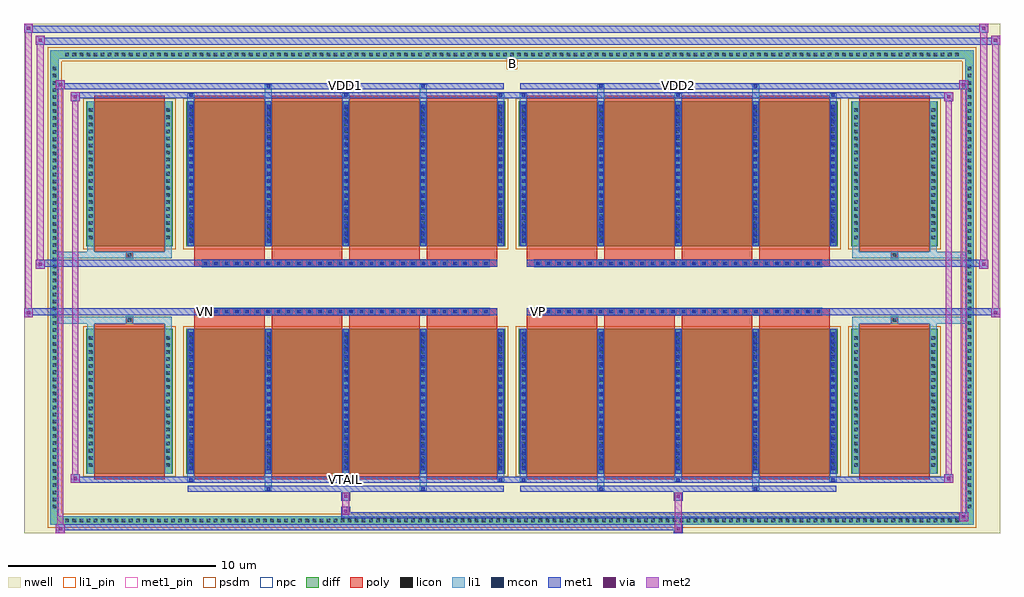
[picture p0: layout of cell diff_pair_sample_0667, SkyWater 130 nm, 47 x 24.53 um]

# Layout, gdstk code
import gdstk
lib = gdstk.Library(unit=1e-6, precision=5e-09)
def R(c, l, rs):  # rectangles x0, y0, x1, y1
    for r in rs: c.add(gdstk.rectangle(r[:2], r[2:], *l))
def A(c, l, x, y, w, h, nx, ny, dx, dy):  # array of equal rectangles
    R(c, l, [(x+i*dx, y+j*dy, x+i*dx+w, y+j*dy+h) for i in range(nx) for j in range(ny)])
def P(c, l, *ps):  # polygons
    for p in ps: c.add(gdstk.Polygon(p, *l))
nwell = (64, 20)
diff = (65, 20)
poly = (66, 20)
licon = (66, 44)
li1_pin = (67, 16)
li1 = (67, 20)
mcon = (67, 44)
met1_pin = (68, 16)
met1 = (68, 20)
via = (68, 44)
met2 = (69, 20)
psdm = (94, 20)
npc = (95, 20)

diff_pair_sample_0667 = lib.new_cell('diff_pair_sample_0667')
R(diff_pair_sample_0667, nwell, [(-23.5,-11.83,23.5,12.7), (-20.82,-10.02,-0.01,-0.8), (0.01,-10.02,20.82,-0.8), (-20.82,0.8,-0.01,10.02), (0.01,0.8,20.82,10.02)])
A(diff_pair_sample_0667, diff, -21.625, -11.43, 0.41, 0.41, 127, 2, 0.34, 22.45)
A(diff_pair_sample_0667, diff, -22.23, -10.745, 0.41, 0.41, 1, 63, 0, 0.34)
A(diff_pair_sample_0667, diff, 21.82, -10.745, 0.41, 0.41, 1, 63, 0, 0.34)
R(diff_pair_sample_0667, diff, [(-21.625,-11.43,21.625,-11.02), (-22.23,-10.745,-21.82,10.745), (21.82,-10.745,22.23,10.745), (-20.51,-8.975,-16.33,-1.985), (-15.69,-8.975,-0.32,-1.985), (0.32,-8.975,15.69,-1.985), (16.33,-8.975,20.51,-1.985), (-20.51,1.985,-16.33,8.975), (-15.69,1.985,-0.32,8.975), (0.32,1.985,15.69,8.975), (16.33,1.985,20.51,8.975), (-21.625,11.02,21.625,11.43)])
P(diff_pair_sample_0667, diff, [(22.23,11.43),(-22.23,11.43),(-22.23,-11.02),(-21.82,-11.02),(-21.82,11.02),(21.82,11.02),(21.82,-11.02),(-21.82,-11.02),(-22.23,-11.02),(-22.23,-11.43),(22.23,-11.43)])
A(diff_pair_sample_0667, poly, -15.3, -9.225, 3.4, 7.49, 4, 2, 3.73, 10.96)
A(diff_pair_sample_0667, poly, 0.71, -9.225, 3.4, 7.49, 4, 2, 3.73, 10.96)
A(diff_pair_sample_0667, poly, -15.3, -1.735, 3.4, 0.405, 4, 2, 3.73, 3.065)
A(diff_pair_sample_0667, poly, 0.71, -1.735, 3.4, 0.405, 4, 2, 3.73, 3.065)
A(diff_pair_sample_0667, poly, -14.92, -1.33, 0.33, 0.33, 28, 2, 0.5, 2.33)
A(diff_pair_sample_0667, poly, 1.09, -1.33, 0.33, 0.33, 28, 2, 0.5, 2.33)
R(diff_pair_sample_0667, poly, [(-20.12,-9.225,-16.72,-1.735), (16.72,-9.225,20.12,-1.735), (-18.585,-1.735,-18.255,-1.405), (-18.585,-1.735,-18.255,-1.405), (18.255,-1.735,18.585,-1.405), (18.255,-1.735,18.585,-1.405), (-15.3,-1.33,-0.71,-1), (0.71,-1.33,15.3,-1), (-15.3,1,-0.71,1.33), (0.71,1,15.3,1.33), (-18.585,1.405,-18.255,1.735), (-18.585,1.405,-18.255,1.735), (18.255,1.405,18.585,1.735), (18.255,1.405,18.585,1.735), (-20.12,1.735,-16.72,9.225), (16.72,1.735,20.12,9.225)])
A(diff_pair_sample_0667, licon, -21.505, -11.31, 0.17, 0.17, 127, 2, 0.34, 22.45)
A(diff_pair_sample_0667, licon, -22.11, -10.625, 0.17, 0.17, 1, 63, 0, 0.34)
A(diff_pair_sample_0667, licon, 21.94, -10.625, 0.17, 0.17, 1, 63, 0, 0.34)
A(diff_pair_sample_0667, licon, -20.37, -8.625, 0.17, 0.17, 1, 19, 0, 0.34)
A(diff_pair_sample_0667, licon, -16.64, -8.625, 0.17, 0.17, 1, 19, 0, 0.34)
A(diff_pair_sample_0667, licon, -15.55, -8.625, 0.17, 0.17, 5, 19, 3.73, 0.34)
A(diff_pair_sample_0667, licon, 0.46, -8.625, 0.17, 0.17, 5, 19, 3.73, 0.34)
A(diff_pair_sample_0667, licon, 16.47, -8.625, 0.17, 0.17, 1, 19, 0, 0.34)
A(diff_pair_sample_0667, licon, 20.2, -8.625, 0.17, 0.17, 1, 19, 0, 0.34)
A(diff_pair_sample_0667, licon, -14.84, -1.25, 0.17, 0.17, 28, 2, 0.5, 2.33)
A(diff_pair_sample_0667, licon, 1.17, -1.25, 0.17, 0.17, 28, 2, 0.5, 2.33)
A(diff_pair_sample_0667, licon, -20.37, 2.335, 0.17, 0.17, 1, 19, 0, 0.34)
A(diff_pair_sample_0667, licon, -16.64, 2.335, 0.17, 0.17, 1, 19, 0, 0.34)
A(diff_pair_sample_0667, licon, -15.55, 2.335, 0.17, 0.17, 5, 19, 3.73, 0.34)
A(diff_pair_sample_0667, licon, 0.46, 2.335, 0.17, 0.17, 5, 19, 3.73, 0.34)
A(diff_pair_sample_0667, licon, 16.47, 2.335, 0.17, 0.17, 1, 19, 0, 0.34)
A(diff_pair_sample_0667, licon, 20.2, 2.335, 0.17, 0.17, 1, 19, 0, 0.34)
R(diff_pair_sample_0667, licon, [(-18.505,-1.655,-18.335,-1.485), (18.335,-1.655,18.505,-1.485), (-18.505,1.485,-18.335,1.655), (18.335,1.485,18.505,1.655)])
R(diff_pair_sample_0667, li1_pin, [(-0.25,10.52,0.25,11.02)])
A(diff_pair_sample_0667, li1, -21.585, -11.39, 0.33, 0.33, 127, 2, 0.34, 22.45)
A(diff_pair_sample_0667, li1, -22.19, -10.705, 0.33, 0.33, 1, 63, 0, 0.34)
A(diff_pair_sample_0667, li1, 21.86, -10.705, 0.33, 0.33, 1, 63, 0, 0.34)
A(diff_pair_sample_0667, li1, -15.63, -9.35, 0.33, 0.375, 3, 2, 7.46, 18.325)
A(diff_pair_sample_0667, li1, -15.55, -9.35, 0.17, 0.17, 3, 2, 7.46, 18.53)
A(diff_pair_sample_0667, li1, 0.38, -9.35, 0.33, 0.375, 3, 2, 7.46, 18.325)
A(diff_pair_sample_0667, li1, 0.46, -9.35, 0.17, 0.17, 3, 2, 7.46, 18.53)
A(diff_pair_sample_0667, li1, -15.63, -8.975, 0.33, 6.99, 5, 2, 3.73, 10.96)
A(diff_pair_sample_0667, li1, 0.38, -8.975, 0.33, 6.99, 5, 2, 3.73, 10.96)
A(diff_pair_sample_0667, li1, -15.55, -8.805, 0.17, 0.17, 5, 19, 3.73, 0.36)
A(diff_pair_sample_0667, li1, -15.55, -8.805, 0.17, 6.65, 5, 2, 3.73, 10.96)
A(diff_pair_sample_0667, li1, 0.46, -8.805, 0.17, 0.17, 5, 19, 3.73, 0.36)
A(diff_pair_sample_0667, li1, 0.46, -8.805, 0.17, 6.65, 5, 2, 3.73, 10.96)
A(diff_pair_sample_0667, li1, -20.45, -8.705, 0.33, 0.33, 1, 19, 0, 0.34)
A(diff_pair_sample_0667, li1, -16.72, -8.705, 0.33, 0.33, 1, 19, 0, 0.34)
A(diff_pair_sample_0667, li1, -15.63, -8.705, 0.33, 0.33, 5, 19, 3.73, 0.34)
A(diff_pair_sample_0667, li1, 0.38, -8.705, 0.33, 0.33, 5, 19, 3.73, 0.34)
A(diff_pair_sample_0667, li1, 16.39, -8.705, 0.33, 0.33, 1, 19, 0, 0.34)
A(diff_pair_sample_0667, li1, 20.12, -8.705, 0.33, 0.33, 1, 19, 0, 0.34)
A(diff_pair_sample_0667, li1, -14.92, -1.33, 0.33, 0.33, 28, 2, 0.5, 2.33)
A(diff_pair_sample_0667, li1, 1.09, -1.33, 0.33, 0.33, 28, 2, 0.5, 2.33)
A(diff_pair_sample_0667, li1, -15.55, 2.155, 0.17, 0.17, 5, 19, 3.73, 0.36)
A(diff_pair_sample_0667, li1, 0.46, 2.155, 0.17, 0.17, 5, 19, 3.73, 0.36)
A(diff_pair_sample_0667, li1, -20.45, 2.255, 0.33, 0.33, 1, 19, 0, 0.34)
A(diff_pair_sample_0667, li1, -16.72, 2.255, 0.33, 0.33, 1, 19, 0, 0.34)
A(diff_pair_sample_0667, li1, -15.63, 2.255, 0.33, 0.33, 5, 19, 3.73, 0.34)
A(diff_pair_sample_0667, li1, 0.38, 2.255, 0.33, 0.33, 5, 19, 3.73, 0.34)
A(diff_pair_sample_0667, li1, 16.39, 2.255, 0.33, 0.33, 1, 19, 0, 0.34)
A(diff_pair_sample_0667, li1, 20.12, 2.255, 0.33, 0.33, 1, 19, 0, 0.34)
R(diff_pair_sample_0667, li1, [(-22.23,-11.43,-21.82,-11.02), (-22.23,-11.43,-21.82,-11.02), (-21.82,-11.43,21.82,-11.02), (21.82,-11.43,22.23,-11.02), (21.82,-11.43,22.23,-11.02), (-22.23,-11.02,-21.82,11.02), (21.82,-11.02,22.23,11.02), (-11.9,-9.78,-11.57,-8.975), (-11.82,-9.78,-11.65,-9.61), (-4.44,-9.78,-4.11,-8.975), (-4.36,-9.78,-4.19,-9.61), (4.11,-9.78,4.44,-8.975), (4.19,-9.78,4.36,-9.61), (11.57,-9.78,11.9,-8.975), (11.65,-9.78,11.82,-9.61), (-20.45,-8.975,-20.12,-1.985), (-16.72,-8.975,-16.39,-1.985), (16.39,-8.975,16.72,-1.985), (20.12,-8.975,20.45,-1.985), (-20.45,-1.985,-20.12,-1.405), (-16.72,-1.985,-16.39,-1.405), (16.39,-1.985,16.72,-1.405), (20.12,-1.985,20.45,-1.405), (-22.23,-1.735,-18.585,-1.405), (-20.45,-1.735,-18.585,-1.405), (-18.585,-1.735,-18.255,-1.405), (-18.255,-1.735,-16.39,-1.405), (16.39,-1.735,18.255,-1.405), (18.255,-1.735,18.585,-1.405), (18.255,-1.735,22.23,-1.405), (18.585,-1.735,20.45,-1.405), (-22.23,1.405,-18.585,1.735), (-20.45,1.405,-18.585,1.735), (-20.45,1.405,-20.12,1.985), (-18.585,1.405,-18.255,1.735), (-18.255,1.405,-16.39,1.735), (-16.72,1.405,-16.39,1.985), (16.39,1.405,18.255,1.735), (16.39,1.405,16.72,1.985), (18.255,1.405,18.585,1.735), (18.255,1.405,22.23,1.735), (18.585,1.405,20.45,1.735), (20.12,1.405,20.45,1.985), (-20.45,1.985,-20.12,8.975), (-16.72,1.985,-16.39,8.975), (16.39,1.985,16.72,8.975), (20.12,1.985,20.45,8.975), (-11.9,8.975,-11.57,9.78), (-4.44,8.975,-4.11,9.78), (4.11,8.975,4.44,9.78), (11.57,8.975,11.9,9.78), (-11.82,9.61,-11.65,9.78), (-4.36,9.61,-4.19,9.78), (4.19,9.61,4.36,9.78), (11.65,9.61,11.82,9.78), (-22.23,11.02,-21.82,11.43), (-22.23,11.02,-21.82,11.43), (-21.82,11.02,21.82,11.43), (21.82,11.02,22.23,11.43), (21.82,11.02,22.23,11.43)])
A(diff_pair_sample_0667, mcon, -15.55, -9.35, 0.17, 0.17, 3, 2, 7.46, 18.53)
A(diff_pair_sample_0667, mcon, 0.46, -9.35, 0.17, 0.17, 3, 2, 7.46, 18.53)
A(diff_pair_sample_0667, mcon, -15.55, -8.805, 0.17, 0.17, 5, 19, 3.73, 0.36)
A(diff_pair_sample_0667, mcon, 0.46, -8.805, 0.17, 0.17, 5, 19, 3.73, 0.36)
A(diff_pair_sample_0667, mcon, -14.84, -1.25, 0.17, 0.17, 28, 2, 0.5, 2.33)
A(diff_pair_sample_0667, mcon, 1.17, -1.25, 0.17, 0.17, 28, 2, 0.5, 2.33)
A(diff_pair_sample_0667, mcon, -15.55, 2.155, 0.17, 0.17, 5, 19, 3.73, 0.36)
A(diff_pair_sample_0667, mcon, 0.46, 2.155, 0.17, 0.17, 5, 19, 3.73, 0.36)
R(diff_pair_sample_0667, mcon, [(-11.82,-9.78,-11.65,-9.61), (-4.36,-9.78,-4.19,-9.61), (4.19,-9.78,4.36,-9.61), (11.65,-9.78,11.82,-9.61), (-11.82,9.61,-11.65,9.78), (-4.36,9.61,-4.19,9.78), (4.19,9.61,4.36,9.78), (11.65,9.61,11.82,9.78)])
R(diff_pair_sample_0667, met1_pin, [(-8.14,-9.39,-7.87,-9.12), (-14.89,-1.29,-14.62,-1.02), (1.12,-1.29,1.39,-1.02), (-8.14,9.57,-7.87,9.84), (7.87,9.57,8.14,9.84)])
A(diff_pair_sample_0667, met1, -15.61, -9.41, 0.29, 0.29, 3, 2, 7.46, 18.53)
A(diff_pair_sample_0667, met1, 0.4, -9.41, 0.29, 0.29, 3, 2, 7.46, 18.53)
A(diff_pair_sample_0667, met1, -15.61, -8.975, 0.29, 6.99, 5, 2, 3.73, 10.96)
A(diff_pair_sample_0667, met1, 0.4, -8.975, 0.29, 6.99, 5, 2, 3.73, 10.96)
A(diff_pair_sample_0667, met1, -15.61, -8.865, 0.29, 0.29, 5, 19, 3.73, 0.36)
A(diff_pair_sample_0667, met1, 0.4, -8.865, 0.29, 0.29, 5, 19, 3.73, 0.36)
A(diff_pair_sample_0667, met1, -14.9, -1.31, 0.29, 0.29, 28, 2, 0.5, 2.33)
A(diff_pair_sample_0667, met1, 1.11, -1.31, 0.29, 0.29, 28, 2, 0.5, 2.33)
A(diff_pair_sample_0667, met1, -15.61, 2.095, 0.29, 0.29, 5, 19, 3.73, 0.36)
A(diff_pair_sample_0667, met1, 0.4, 2.095, 0.29, 0.29, 5, 19, 3.73, 0.36)
R(diff_pair_sample_0667, met1, [(-21.96,-11.83,-21.53,-11.4), (7.79,-11.83,8.22,-11.4), (-21.96,-11.69,8.22,-11.4), (21.53,-11.26,21.96,-10.83), (-8.22,-11.12,21.96,-10.83), (-8.22,-10.98,-7.79,-10.55), (-8.22,-10.27,-7.79,-9.84), (7.79,-10.27,8.22,-9.84), (-15.61,-9.84,-0.4,-9.55), (-11.88,-9.84,-11.59,-9.55), (-4.42,-9.84,-4.13,-9.55), (0.4,-9.84,15.61,-9.55), (4.13,-9.84,4.42,-9.55), (11.59,-9.84,11.88,-9.55), (-21.25,-9.41,-20.82,-8.98), (-21.25,-9.41,-15.61,-9.12), (-15.61,-9.41,-0.4,-9.12), (-0.4,-9.41,0.4,-9.12), (0.4,-9.41,15.61,-9.12), (15.61,-9.41,21.25,-9.12), (20.82,-9.41,21.25,-8.98), (-23.5,-1.43,-23.07,-1), (23.07,-1.43,23.5,-1), (-23.5,-1.33,-0.71,-1), (-15.3,-1.33,-0.71,-1), (0.71,-1.33,15.3,-1), (0.71,-1.33,23.5,-1), (-22.93,0.9,-22.5,1.33), (22.5,0.9,22.93,1.33), (-22.93,1,-15.3,1.33), (-15.3,1,-0.71,1.33), (0.71,1,15.3,1.33), (15.3,1,22.93,1.33), (-21.25,8.98,-20.82,9.41), (20.82,8.98,21.25,9.41), (-21.25,9.12,-15.61,9.41), (-15.61,9.12,-0.4,9.41), (-0.4,9.12,0.4,9.41), (0.4,9.12,15.61,9.41), (15.61,9.12,21.25,9.41), (-21.96,9.55,-21.53,9.98), (-21.96,9.55,-15.61,9.84), (-15.61,9.55,-0.4,9.84), (-11.88,9.55,-11.59,9.84), (-4.42,9.55,-4.13,9.84), (0.4,9.55,15.61,9.84), (4.13,9.55,4.42,9.84), (11.59,9.55,11.88,9.84), (15.61,9.55,21.96,9.84), (21.53,9.55,21.96,9.98), (-22.93,11.7,-22.5,12.13), (-22.93,11.7,-20.82,12.03), (-20.82,11.7,20.82,12.03), (20.82,11.7,23.5,12.03), (23.07,11.7,23.5,12.13), (-23.5,12.27,-23.07,12.7), (-23.5,12.27,-20.82,12.6), (-20.82,12.27,20.82,12.6), (20.82,12.27,22.93,12.6), (22.5,12.27,22.93,12.7)])
R(diff_pair_sample_0667, via, [(-21.82,-11.69,-21.67,-11.54), (7.93,-11.69,8.08,-11.54), (21.67,-11.12,21.82,-10.97), (-8.08,-10.84,-7.93,-10.69), (-8.08,-10.13,-7.93,-9.98), (7.93,-10.13,8.08,-9.98), (-21.11,-9.27,-20.96,-9.12), (20.96,-9.27,21.11,-9.12), (-23.36,-1.29,-23.21,-1.14), (23.21,-1.29,23.36,-1.14), (-22.79,1.04,-22.64,1.19), (22.64,1.04,22.79,1.19), (-21.11,9.12,-20.96,9.27), (20.96,9.12,21.11,9.27), (-21.82,9.69,-21.67,9.84), (21.67,9.69,21.82,9.84), (-22.79,11.84,-22.64,11.99), (23.21,11.84,23.36,11.99), (-23.36,12.41,-23.21,12.56), (22.64,12.41,22.79,12.56)])
R(diff_pair_sample_0667, met2, [(-21.96,-11.83,-21.53,-11.4), (-21.89,-11.83,-21.6,9.98), (-21.6,-11.83,-21.53,-11.4), (-21.91,-11.78,-21.58,-11.45), (7.84,-11.78,8.17,-11.45), (7.84,-11.45,8.17,-10.22), (21.53,-11.26,21.96,-10.83), (21.6,-11.26,21.89,9.98), (21.89,-11.26,21.96,-10.83), (21.58,-11.21,21.91,-10.88), (-8.17,-10.93,-7.84,-10.6), (-8.17,-10.6,-7.84,-10.22), (-8.17,-10.22,-7.84,-9.89), (7.84,-10.22,8.17,-9.89), (-21.25,-9.41,-20.82,-8.98), (-21.18,-9.41,-20.89,9.41), (-20.89,-9.41,-20.82,-8.98), (20.82,-9.41,21.25,-8.98), (20.89,-9.41,21.18,9.41), (21.18,-9.41,21.25,-8.98), (-21.2,-9.36,-20.87,-9.03), (20.87,-9.36,21.2,-9.03), (-23.5,-1.43,-23.07,-1), (-23.45,-1.43,-23.12,12.7), (-23.12,-1.43,-23.07,-1), (23.07,-1.43,23.5,-1), (23.12,-1.43,23.45,12.13), (23.45,-1.43,23.5,-1), (-23.45,-1.38,-23.12,-1.05), (23.12,-1.38,23.45,-1.05), (-22.93,0.9,-22.5,1.33), (-22.88,0.9,-22.55,12.13), (-22.55,0.9,-22.5,1.33), (22.5,0.9,22.93,1.33), (22.55,0.9,22.88,12.7), (22.88,0.9,22.93,1.33), (-22.88,0.95,-22.55,1.28), (22.55,0.95,22.88,1.28), (-21.25,8.98,-20.82,9.41), (-20.89,8.98,-20.82,9.41), (20.82,8.98,21.25,9.41), (21.18,8.98,21.25,9.41), (-21.2,9.03,-20.87,9.36), (20.87,9.03,21.2,9.36), (-21.96,9.55,-21.53,9.98), (-21.6,9.55,-21.53,9.98), (21.53,9.55,21.96,9.98), (21.89,9.55,21.96,9.98), (-21.91,9.6,-21.58,9.93), (21.58,9.6,21.91,9.93), (-22.93,11.7,-22.5,12.13), (-22.55,11.7,-22.5,12.13), (23.07,11.7,23.5,12.13), (23.45,11.7,23.5,12.13), (-22.88,11.75,-22.55,12.08), (23.12,11.75,23.45,12.08), (-23.5,12.27,-23.07,12.7), (-23.12,12.27,-23.07,12.7), (22.5,12.27,22.93,12.7), (22.88,12.27,22.93,12.7), (-23.45,12.32,-23.12,12.65), (22.55,12.32,22.88,12.65)])
R(diff_pair_sample_0667, psdm, [(-20.64,-9.105,-16.2,-1.855), (-15.82,-9.105,-0.19,-1.855), (0.19,-9.105,15.82,-1.855), (16.2,-9.105,20.64,-1.855), (-20.64,1.855,-16.2,9.105), (-15.82,1.855,-0.19,9.105), (0.19,1.855,15.82,9.105), (16.2,1.855,20.64,9.105)])
P(diff_pair_sample_0667, psdm, [(22.36,11.56),(-22.36,11.56),(-22.36,-10.89),(-21.69,-10.89),(-21.69,10.89),(21.69,10.89),(21.69,-10.89),(-21.69,-10.89),(-22.36,-10.89),(-22.36,-11.56),(22.36,-11.56)])
A(diff_pair_sample_0667, npc, -14.94, -1.35, 0.37, 0.37, 28, 2, 0.5, 2.33)
A(diff_pair_sample_0667, npc, 1.07, -1.35, 0.37, 0.37, 28, 2, 0.5, 2.33)
R(diff_pair_sample_0667, npc, [(-18.605,-1.755,-18.235,-1.385), (18.235,-1.755,18.605,-1.385), (-14.94,-1.35,-14.07,-0.98), (-14.94,-1.35,-14.07,-0.98), (-14.44,-1.35,-13.57,-0.98), (-14.44,-1.35,-13.57,-0.98), (-13.94,-1.35,-13.07,-0.98), (-13.94,-1.35,-13.07,-0.98), (-13.44,-1.35,-12.57,-0.98), (-13.44,-1.35,-12.57,-0.98), (-12.94,-1.35,-12.07,-0.98), (-12.94,-1.35,-12.07,-0.98), (-12.44,-1.35,-11.57,-0.98), (-12.44,-1.35,-11.57,-0.98), (-11.94,-1.35,-11.07,-0.98), (-11.94,-1.35,-11.07,-0.98), (-11.44,-1.35,-10.57,-0.98), (-11.44,-1.35,-10.57,-0.98), (-10.94,-1.35,-10.07,-0.98), (-10.94,-1.35,-10.07,-0.98), (-10.44,-1.35,-9.57,-0.98), (-10.44,-1.35,-9.57,-0.98), (-9.94,-1.35,-9.07,-0.98), (-9.94,-1.35,-9.07,-0.98), (-9.44,-1.35,-8.57,-0.98), (-9.44,-1.35,-8.57,-0.98), (-8.94,-1.35,-8.07,-0.98), (-8.94,-1.35,-8.07,-0.98), (-8.44,-1.35,-7.57,-0.98), (-8.44,-1.35,-7.57,-0.98), (-7.94,-1.35,-7.07,-0.98), (-7.94,-1.35,-7.07,-0.98), (-7.44,-1.35,-6.57,-0.98), (-7.44,-1.35,-6.57,-0.98), (-6.94,-1.35,-6.07,-0.98), (-6.94,-1.35,-6.07,-0.98), (-6.44,-1.35,-5.57,-0.98), (-6.44,-1.35,-5.57,-0.98), (-5.94,-1.35,-5.07,-0.98), (-5.94,-1.35,-5.07,-0.98), (-5.44,-1.35,-4.57,-0.98), (-5.44,-1.35,-4.57,-0.98), (-4.94,-1.35,-4.07,-0.98), (-4.94,-1.35,-4.07,-0.98), (-4.44,-1.35,-3.57,-0.98), (-4.44,-1.35,-3.57,-0.98), (-3.94,-1.35,-3.07,-0.98), (-3.94,-1.35,-3.07,-0.98), (-3.44,-1.35,-2.57,-0.98), (-3.44,-1.35,-2.57,-0.98), (-2.94,-1.35,-2.07,-0.98), (-2.94,-1.35,-2.07,-0.98), (-2.44,-1.35,-1.57,-0.98), (-2.44,-1.35,-1.57,-0.98), (-1.94,-1.35,-1.07,-0.98), (-1.94,-1.35,-1.07,-0.98), (1.07,-1.35,1.94,-0.98), (1.07,-1.35,1.94,-0.98), (1.57,-1.35,2.44,-0.98), (1.57,-1.35,2.44,-0.98), (2.07,-1.35,2.94,-0.98), (2.07,-1.35,2.94,-0.98), (2.57,-1.35,3.44,-0.98), (2.57,-1.35,3.44,-0.98), (3.07,-1.35,3.94,-0.98), (3.07,-1.35,3.94,-0.98), (3.57,-1.35,4.44,-0.98), (3.57,-1.35,4.44,-0.98), (4.07,-1.35,4.94,-0.98), (4.07,-1.35,4.94,-0.98), (4.57,-1.35,5.44,-0.98), (4.57,-1.35,5.44,-0.98), (5.07,-1.35,5.94,-0.98), (5.07,-1.35,5.94,-0.98), (5.57,-1.35,6.44,-0.98), (5.57,-1.35,6.44,-0.98), (6.07,-1.35,6.94,-0.98), (6.07,-1.35,6.94,-0.98), (6.57,-1.35,7.44,-0.98), (6.57,-1.35,7.44,-0.98), (7.07,-1.35,7.94,-0.98), (7.07,-1.35,7.94,-0.98), (7.57,-1.35,8.44,-0.98), (7.57,-1.35,8.44,-0.98), (8.07,-1.35,8.94,-0.98), (8.07,-1.35,8.94,-0.98), (8.57,-1.35,9.44,-0.98), (8.57,-1.35,9.44,-0.98), (9.07,-1.35,9.94,-0.98), (9.07,-1.35,9.94,-0.98), (9.57,-1.35,10.44,-0.98), (9.57,-1.35,10.44,-0.98), (10.07,-1.35,10.94,-0.98), (10.07,-1.35,10.94,-0.98), (10.57,-1.35,11.44,-0.98), (10.57,-1.35,11.44,-0.98), (11.07,-1.35,11.94,-0.98), (11.07,-1.35,11.94,-0.98), (11.57,-1.35,12.44,-0.98), (11.57,-1.35,12.44,-0.98), (12.07,-1.35,12.94,-0.98), (12.07,-1.35,12.94,-0.98), (12.57,-1.35,13.44,-0.98), (12.57,-1.35,13.44,-0.98), (13.07,-1.35,13.94,-0.98), (13.07,-1.35,13.94,-0.98), (13.57,-1.35,14.44,-0.98), (13.57,-1.35,14.44,-0.98), (14.07,-1.35,14.94,-0.98), (14.07,-1.35,14.94,-0.98), (-14.94,0.98,-14.07,1.35), (-14.94,0.98,-14.07,1.35), (-14.44,0.98,-13.57,1.35), (-14.44,0.98,-13.57,1.35), (-13.94,0.98,-13.07,1.35), (-13.94,0.98,-13.07,1.35), (-13.44,0.98,-12.57,1.35), (-13.44,0.98,-12.57,1.35), (-12.94,0.98,-12.07,1.35), (-12.94,0.98,-12.07,1.35), (-12.44,0.98,-11.57,1.35), (-12.44,0.98,-11.57,1.35), (-11.94,0.98,-11.07,1.35), (-11.94,0.98,-11.07,1.35), (-11.44,0.98,-10.57,1.35), (-11.44,0.98,-10.57,1.35), (-10.94,0.98,-10.07,1.35), (-10.94,0.98,-10.07,1.35), (-10.44,0.98,-9.57,1.35), (-10.44,0.98,-9.57,1.35), (-9.94,0.98,-9.07,1.35), (-9.94,0.98,-9.07,1.35), (-9.44,0.98,-8.57,1.35), (-9.44,0.98,-8.57,1.35), (-8.94,0.98,-8.07,1.35), (-8.94,0.98,-8.07,1.35), (-8.44,0.98,-7.57,1.35), (-8.44,0.98,-7.57,1.35), (-7.94,0.98,-7.07,1.35), (-7.94,0.98,-7.07,1.35), (-7.44,0.98,-6.57,1.35), (-7.44,0.98,-6.57,1.35), (-6.94,0.98,-6.07,1.35), (-6.94,0.98,-6.07,1.35), (-6.44,0.98,-5.57,1.35), (-6.44,0.98,-5.57,1.35), (-5.94,0.98,-5.07,1.35), (-5.94,0.98,-5.07,1.35), (-5.44,0.98,-4.57,1.35), (-5.44,0.98,-4.57,1.35), (-4.94,0.98,-4.07,1.35), (-4.94,0.98,-4.07,1.35), (-4.44,0.98,-3.57,1.35), (-4.44,0.98,-3.57,1.35), (-3.94,0.98,-3.07,1.35), (-3.94,0.98,-3.07,1.35), (-3.44,0.98,-2.57,1.35), (-3.44,0.98,-2.57,1.35), (-2.94,0.98,-2.07,1.35), (-2.94,0.98,-2.07,1.35), (-2.44,0.98,-1.57,1.35), (-2.44,0.98,-1.57,1.35), (-1.94,0.98,-1.07,1.35), (-1.94,0.98,-1.07,1.35), (1.07,0.98,1.94,1.35), (1.07,0.98,1.94,1.35), (1.57,0.98,2.44,1.35), (1.57,0.98,2.44,1.35), (2.07,0.98,2.94,1.35), (2.07,0.98,2.94,1.35), (2.57,0.98,3.44,1.35), (2.57,0.98,3.44,1.35), (3.07,0.98,3.94,1.35), (3.07,0.98,3.94,1.35), (3.57,0.98,4.44,1.35), (3.57,0.98,4.44,1.35), (4.07,0.98,4.94,1.35), (4.07,0.98,4.94,1.35), (4.57,0.98,5.44,1.35), (4.57,0.98,5.44,1.35), (5.07,0.98,5.94,1.35), (5.07,0.98,5.94,1.35), (5.57,0.98,6.44,1.35), (5.57,0.98,6.44,1.35), (6.07,0.98,6.94,1.35), (6.07,0.98,6.94,1.35), (6.57,0.98,7.44,1.35), (6.57,0.98,7.44,1.35), (7.07,0.98,7.94,1.35), (7.07,0.98,7.94,1.35), (7.57,0.98,8.44,1.35), (7.57,0.98,8.44,1.35), (8.07,0.98,8.94,1.35), (8.07,0.98,8.94,1.35), (8.57,0.98,9.44,1.35), (8.57,0.98,9.44,1.35), (9.07,0.98,9.94,1.35), (9.07,0.98,9.94,1.35), (9.57,0.98,10.44,1.35), (9.57,0.98,10.44,1.35), (10.07,0.98,10.94,1.35), (10.07,0.98,10.94,1.35), (10.57,0.98,11.44,1.35), (10.57,0.98,11.44,1.35), (11.07,0.98,11.94,1.35), (11.07,0.98,11.94,1.35), (11.57,0.98,12.44,1.35), (11.57,0.98,12.44,1.35), (12.07,0.98,12.94,1.35), (12.07,0.98,12.94,1.35), (12.57,0.98,13.44,1.35), (12.57,0.98,13.44,1.35), (13.07,0.98,13.94,1.35), (13.07,0.98,13.94,1.35), (13.57,0.98,14.44,1.35), (13.57,0.98,14.44,1.35), (14.07,0.98,14.94,1.35), (14.07,0.98,14.94,1.35), (-18.605,1.385,-18.235,1.755), (18.235,1.385,18.605,1.755)])
diff_pair_sample_0667.add(gdstk.Label('VTAIL', (-8.005,-9.255), layer=68, texttype=5))
diff_pair_sample_0667.add(gdstk.Label('VN', (-14.755,-1.155), layer=68, texttype=5))
diff_pair_sample_0667.add(gdstk.Label('VP', (1.255,-1.155), layer=68, texttype=5))
diff_pair_sample_0667.add(gdstk.Label('B', (0,10.77), layer=67, texttype=5))
diff_pair_sample_0667.add(gdstk.Label('VDD2', (8.005,9.705), layer=68, texttype=5))
diff_pair_sample_0667.add(gdstk.Label('VDD1', (-8.005,9.705), layer=68, texttype=5))

lib.write_gds('diff_pair_sample_0667.gds')
